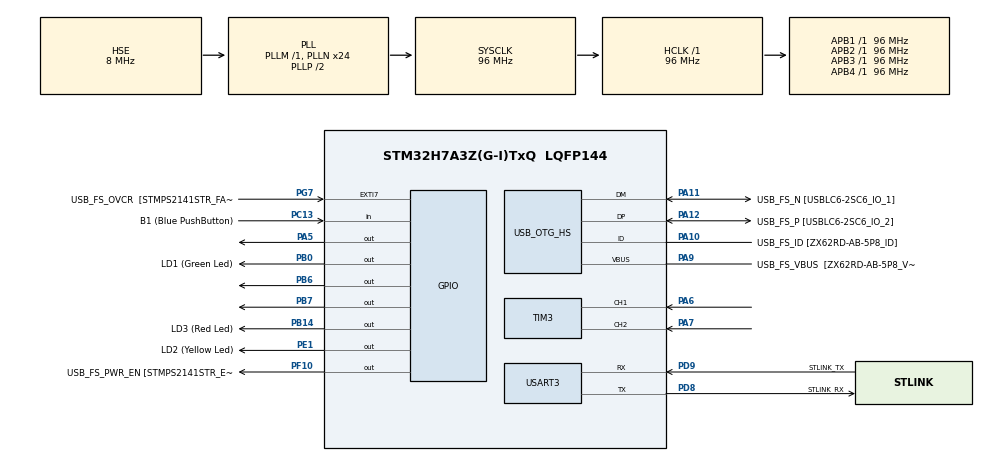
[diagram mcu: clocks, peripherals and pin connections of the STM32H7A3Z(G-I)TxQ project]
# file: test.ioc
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Mcu.Family=STM32H7
Mcu.Name=STM32H7A3Z(G-I)TxQ
Mcu.Package=LQFP144
NVIC.PriorityGroup=NVIC_PRIORITYGROUP_4
PA10.GPIO_Label=USB_FS_ID [ZX62RD-AB-5P8_ID]
PA10.Mode=OTG/Dual-Role-Device-FS
PA10.Signal=USB_OTG_HS_ID
PA11.GPIO_Label=USB_FS_N [USBLC6-2SC6_IO_1]
PA11.Mode=OTG/Dual-Role-Device-FS
PA11.Signal=USB_OTG_HS_DM
PA12.GPIO_Label=USB_FS_P [USBLC6-2SC6_IO_2]
PA12.Mode=OTG/Dual-Role-Device-FS
PA12.Signal=USB_OTG_HS_DP
PA5.Signal=GPIO_Output
PA6.Signal=S_TIM3_CH1
PA7.Signal=S_TIM3_CH2
PA9.GPIO_Label=USB_FS_VBUS  [ZX62RD-AB-5P8_VBUS]
PA9.Mode=Activate_VBUS_FS
PA9.Signal=USB_OTG_HS_VBUS
PB0.GPIO_Label=LD1 (Green Led)
PB0.Signal=GPIO_Output
PB14.GPIO_Label=LD3 (Red Led)
PB14.Signal=GPIO_Output
PB6.Signal=GPIO_Output
PB7.Signal=GPIO_Output
PC13.GPIO_Label=B1 (Blue PushButton)
PC13.Signal=GPIO_Input
PC14-OSC32_IN.GPIO_Label=OSC32_IN
PC14-OSC32_IN.Mode=LSE-External-Oscillator
PC14-OSC32_IN.Signal=RCC_OSC32_IN
PC15-OSC32_OUT.GPIO_Label=OSC32_OUT
PC15-OSC32_OUT.Mode=LSE-External-Oscillator
PC15-OSC32_OUT.Signal=RCC_OSC32_OUT
PD8.GPIO_Label=STLINK_RX
PD8.Mode=Asynchronous
PD8.Signal=USART3_TX
PD9.GPIO_Label=STLINK_TX
PD9.Mode=Asynchronous
PD9.Signal=USART3_RX
PE1.GPIO_Label=LD2 (Yellow Led)
PE1.Signal=GPIO_Output
PF10.GPIO_Label=USB_FS_PWR_EN [STMPS2141STR_EN]
PF10.Signal=GPIO_Output
PG7.GPIO_Label=USB_FS_OVCR  [STMPS2141STR_FAULT]
PG7.Signal=GPXTI7
PH0-OSC_IN.GPIO_Label=PH0-MCU
PH0-OSC_IN.Mode=HSE-External-Clock-Source
PH0-OSC_IN.Signal=RCC_OSC_IN
PH1-OSC_OUT.GPIO_Label=PH1-MCU
PH1-OSC_OUT.Signal=RCC_OSC_OUT
ProjectManager.HeapSize=0x200
ProjectManager.StackSize=0x400
ProjectManager.TargetToolchain=STM32CubeIDE
RCC.ADCFreq_Value=16125000
RCC.APB1Freq_Value=96000000
RCC.APB2Freq_Value=96000000
RCC.APB3Freq_Value=96000000
RCC.APB4Freq_Value=96000000
RCC.CortexFreq_Value=96000000
RCC.DIVM1=1
RCC.DIVM3=1
RCC.DIVN1=24
RCC.DIVN3=24
RCC.DIVQ1=4
RCC.HCLKFreq_Value=96000000
RCC.HSE_VALUE=8000000
RCC.PLLFRACN=0
RCC.PLLSourceVirtual=RCC_PLLSOURCE_HSE
RCC.PWR_Regulator_Voltage_Scale=PWR_REGULATOR_VOLTAGE_SCALE0
RCC.SYSCLKFreq_VALUE=96000000
RCC.SYSCLKSource=RCC_SYSCLKSOURCE_PLLCLK
RCC.SupplySource=PWR_DIRECT_SMPS_SUPPLY
RCC.USBCLockSelection=RCC_USBCLKSOURCE_HSI48
RCC.USBFreq_Value=48000000
SH.S_TIM3_CH1.0=TIM3_CH1,Encoder_Interface
SH.S_TIM3_CH2.0=TIM3_CH2,Encoder_Interface
TIM3.EncoderMode=TIM_ENCODERMODE_TI12
USART3.VirtualMode-Asynchronous=VM_ASYNC
board=NUCLEO-H7A3ZI-Q

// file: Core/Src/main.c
/* USER CODE BEGIN Header */
/**
 ******************************************************************************
 * @file           : main.c
 * @brief          : Main program body
 ******************************************************************************
 * @attention
 *
 * Copyright (c) 2024 STMicroelectronics.
 * All rights reserved.
 *
 * This software is licensed under terms that can be found in the LICENSE file
 * in the root directory of this software component.
 * If no LICENSE file comes with this software, it is provided AS-IS.
 *
 ******************************************************************************
 */
/* USER CODE END Header */
#include "main.h"

/* USER CODE BEGIN Includes */
#include "../Inc/motor_encoder.h"
#include "stdio.h"
/* USER CODE END Includes */

TIM_HandleTypeDef htim3;

UART_HandleTypeDef huart3;

/* USER CODE BEGIN PV */
encoder_instance enc_instance;

/* USER CODE END PV */

void SystemClock_Config(void);
static void MX_GPIO_Init(void);
static void MX_USART3_UART_Init(void);
static void MX_USB_OTG_HS_USB_Init(void);
static void MX_TIM3_Init(void);

/* USER CODE BEGIN 0 */
char uart_buf[50];
int uart_buf_len;
int16_t encoder_velocity;
int32_t encoder_position;
uint16_t timer_counter;

// void HAL_TIM_PeriodElapsedCallback(TIM_HandleTypeDef *htim) {
//   timer_counter = __HAL_TIM_GET_COUNTER(&htim3);
//   update_encoder(&enc_instance, &htim3);
//   encoder_position = enc_instance.position;
//   encoder_velocity = enc_instance.velocity;
// }

/* USER CODE END 0 */

int main(void) {

  /* MCU Configuration--------------------------------------------------------*/

  /* Reset of all peripherals, Initializes the Flash interface and the Systick.
   */
  HAL_Init();

  /* Configure the system clock */
  SystemClock_Config();

  /* Initialize all configured peripherals */
  MX_GPIO_Init();
  MX_USART3_UART_Init();
  MX_USB_OTG_HS_USB_Init();
  MX_TIM3_Init();
  /* USER CODE BEGIN 2 */
  // pump on
  // HAL_GPIO_WritePin(GPIOA, GPIO_PIN_5, GPIO_PIN_SET);
  // HAL_Delay(6000);
  // HAL_GPIO_WritePin(GPIOA, GPIO_PIN_5, GPIO_PIN_RESET);

  /* USER CODE END 2 */

  /* Infinite loop */
  /* USER CODE BEGIN WHILE */

  while (1) {
    // timer_counter = __HAL_TIM_GET_COUNTER(&htim3);
    // update_encoder(&enc_instance, &htim3);
    // encoder_position = enc_instance.position;
    // encoder_velocity = enc_instance.velocity;
    //
    // uart_buf_len =
    //     sprintf(uart_buf, "Counter value = %ld\r\n", encoder_position);
    // HAL_UART_Transmit(&huart3, (uint8_t *)uart_buf, uart_buf_len, 100);
    //
    // HAL_GPIO_WritePin(GPIOB, GPIO_PIN_6, GPIO_PIN_SET);

    // if (encoder_position >= 35) {
    //   HAL_GPIO_WritePin(GPIOB, GPIO_PIN_7, GPIO_PIN_SET);
    //   HAL_GPIO_WritePin(GPIOB, GPIO_PIN_6, GPIO_PIN_RESET);
    // }
    // if (encoder_position <= 30) {
    //   HAL_GPIO_WritePin(GPIOB, GPIO_PIN_7, GPIO_PIN_RESET);
    //   HAL_GPIO_WritePin(GPIOB, GPIO_PIN_6, GPIO_PIN_SET);

    // }

    /* USER CODE END WHILE */

  }
}

void SystemClock_Config(void) {
  RCC_OscInitTypeDef RCC_OscInitStruct = {0};
  RCC_ClkInitTypeDef RCC_ClkInitStruct = {0};

  /*AXI clock gating */
  RCC->CKGAENR = 0xFFFFFFFF;

  /** Supply configuration update enable
   */
  HAL_PWREx_ConfigSupply(PWR_DIRECT_SMPS_SUPPLY);

  /** Configure the main internal regulator output voltage
   */
  __HAL_PWR_VOLTAGESCALING_CONFIG(PWR_REGULATOR_VOLTAGE_SCALE0);

  while (!__HAL_PWR_GET_FLAG(PWR_FLAG_VOSRDY)) {
  }

  /** Initializes the RCC Oscillators according to the specified parameters
   * in the RCC_OscInitTypeDef structure.
   */
  RCC_OscInitStruct.OscillatorType =
      RCC_OSCILLATORTYPE_HSI48 | RCC_OSCILLATORTYPE_HSE;
  RCC_OscInitStruct.HSEState = RCC_HSE_BYPASS;
  RCC_OscInitStruct.HSI48State = RCC_HSI48_ON;
  RCC_OscInitStruct.PLL.PLLState = RCC_PLL_ON;
  RCC_OscInitStruct.PLL.PLLSource = RCC_PLLSOURCE_HSE;
  RCC_OscInitStruct.PLL.PLLM = 1;
  RCC_OscInitStruct.PLL.PLLN = 24;
  RCC_OscInitStruct.PLL.PLLP = 2;
  RCC_OscInitStruct.PLL.PLLQ = 4;
  RCC_OscInitStruct.PLL.PLLR = 2;
  RCC_OscInitStruct.PLL.PLLRGE = RCC_PLL1VCIRANGE_3;
  RCC_OscInitStruct.PLL.PLLVCOSEL = RCC_PLL1VCOWIDE;
  RCC_OscInitStruct.PLL.PLLFRACN = 0;
  if (HAL_RCC_OscConfig(&RCC_OscInitStruct) != HAL_OK) {
    Error_Handler();
  }

  /** Initializes the CPU, AHB and APB buses clocks
   */
  RCC_ClkInitStruct.ClockType = RCC_CLOCKTYPE_HCLK | RCC_CLOCKTYPE_SYSCLK |
                                RCC_CLOCKTYPE_PCLK1 | RCC_CLOCKTYPE_PCLK2 |
                                RCC_CLOCKTYPE_D3PCLK1 | RCC_CLOCKTYPE_D1PCLK1;
  RCC_ClkInitStruct.SYSCLKSource = RCC_SYSCLKSOURCE_PLLCLK;
  RCC_ClkInitStruct.SYSCLKDivider = RCC_SYSCLK_DIV1;
  RCC_ClkInitStruct.AHBCLKDivider = RCC_HCLK_DIV1;
  RCC_ClkInitStruct.APB3CLKDivider = RCC_APB3_DIV1;
  RCC_ClkInitStruct.APB1CLKDivider = RCC_APB1_DIV1;
  RCC_ClkInitStruct.APB2CLKDivider = RCC_APB2_DIV1;
  RCC_ClkInitStruct.APB4CLKDivider = RCC_APB4_DIV1;

  if (HAL_RCC_ClockConfig(&RCC_ClkInitStruct, FLASH_LATENCY_2) != HAL_OK) {
    Error_Handler();
  }
}

static void MX_TIM3_Init(void) {

  TIM_Encoder_InitTypeDef sConfig = {0};
  TIM_MasterConfigTypeDef sMasterConfig = {0};

  htim3.Instance = TIM3;
  htim3.Init.Prescaler = 0;
  htim3.Init.CounterMode = TIM_COUNTERMODE_UP;
  htim3.Init.Period = 65535;
  htim3.Init.ClockDivision = TIM_CLOCKDIVISION_DIV1;
  htim3.Init.AutoReloadPreload = TIM_AUTORELOAD_PRELOAD_DISABLE;
  sConfig.EncoderMode = TIM_ENCODERMODE_TI12;
  sConfig.IC1Polarity = TIM_ICPOLARITY_RISING;
  sConfig.IC1Selection = TIM_ICSELECTION_DIRECTTI;
  sConfig.IC1Prescaler = TIM_ICPSC_DIV1;
  sConfig.IC1Filter = 0;
  sConfig.IC2Polarity = TIM_ICPOLARITY_RISING;
  sConfig.IC2Selection = TIM_ICSELECTION_DIRECTTI;
  sConfig.IC2Prescaler = TIM_ICPSC_DIV1;
  sConfig.IC2Filter = 0;
  if (HAL_TIM_Encoder_Init(&htim3, &sConfig) != HAL_OK) {
    Error_Handler();
  }
  sMasterConfig.MasterOutputTrigger = TIM_TRGO_RESET;
  sMasterConfig.MasterSlaveMode = TIM_MASTERSLAVEMODE_DISABLE;
  if (HAL_TIMEx_MasterConfigSynchronization(&htim3, &sMasterConfig) != HAL_OK) {
    Error_Handler();
  }
  /* USER CODE BEGIN TIM3_Init 2 */
  HAL_TIM_Encoder_Start(&htim3, TIM_CHANNEL_ALL);
  /* USER CODE END TIM3_Init 2 */
}

static void MX_USART3_UART_Init(void) {

  huart3.Instance = USART3;
  huart3.Init.BaudRate = 115200;
  huart3.Init.WordLength = UART_WORDLENGTH_8B;
  huart3.Init.StopBits = UART_STOPBITS_1;
  huart3.Init.Parity = UART_PARITY_NONE;
  huart3.Init.Mode = UART_MODE_TX_RX;
  huart3.Init.HwFlowCtl = UART_HWCONTROL_NONE;
  huart3.Init.OverSampling = UART_OVERSAMPLING_16;
  huart3.Init.OneBitSampling = UART_ONE_BIT_SAMPLE_DISABLE;
  huart3.Init.ClockPrescaler = UART_PRESCALER_DIV1;
  huart3.AdvancedInit.AdvFeatureInit = UART_ADVFEATURE_NO_INIT;
  if (HAL_UART_Init(&huart3) != HAL_OK) {
    Error_Handler();
  }
  if (HAL_UARTEx_SetTxFifoThreshold(&huart3, UART_TXFIFO_THRESHOLD_1_8) !=
      HAL_OK) {
    Error_Handler();
  }
  if (HAL_UARTEx_SetRxFifoThreshold(&huart3, UART_RXFIFO_THRESHOLD_1_8) !=
      HAL_OK) {
    Error_Handler();
  }
  if (HAL_UARTEx_DisableFifoMode(&huart3) != HAL_OK) {
    Error_Handler();
  }
}

static void MX_USB_OTG_HS_USB_Init(void) {

}

static void MX_GPIO_Init(void) {
  GPIO_InitTypeDef GPIO_InitStruct = {0};

  /* GPIO Ports Clock Enable */
  __HAL_RCC_GPIOC_CLK_ENABLE();
  __HAL_RCC_GPIOF_CLK_ENABLE();
  __HAL_RCC_GPIOH_CLK_ENABLE();
  __HAL_RCC_GPIOA_CLK_ENABLE();
  __HAL_RCC_GPIOB_CLK_ENABLE();
  __HAL_RCC_GPIOD_CLK_ENABLE();
  __HAL_RCC_GPIOG_CLK_ENABLE();
  __HAL_RCC_GPIOE_CLK_ENABLE();

  /*Configure GPIO pin Output Level */
  HAL_GPIO_WritePin(USB_FS_PWR_EN_GPIO_Port, USB_FS_PWR_EN_Pin, GPIO_PIN_RESET);

  /*Configure GPIO pin Output Level */
  HAL_GPIO_WritePin(GPIOA, GPIO_PIN_5, GPIO_PIN_RESET);

  /*Configure GPIO pin Output Level */
  HAL_GPIO_WritePin(GPIOB, LD1_Pin | LD3_Pin | GPIO_PIN_6 | GPIO_PIN_7,
                    GPIO_PIN_RESET);

  /*Configure GPIO pin Output Level */
  HAL_GPIO_WritePin(LD2_GPIO_Port, LD2_Pin, GPIO_PIN_RESET);

  /*Configure GPIO pin : B1_Pin */
  GPIO_InitStruct.Pin = B1_Pin;
  GPIO_InitStruct.Mode = GPIO_MODE_INPUT;
  GPIO_InitStruct.Pull = GPIO_NOPULL;
  HAL_GPIO_Init(B1_GPIO_Port, &GPIO_InitStruct);

  /*Configure GPIO pin : USB_FS_PWR_EN_Pin */
  GPIO_InitStruct.Pin = USB_FS_PWR_EN_Pin;
  GPIO_InitStruct.Mode = GPIO_MODE_OUTPUT_PP;
  GPIO_InitStruct.Pull = GPIO_NOPULL;
  GPIO_InitStruct.Speed = GPIO_SPEED_FREQ_LOW;
  HAL_GPIO_Init(USB_FS_PWR_EN_GPIO_Port, &GPIO_InitStruct);

  /*Configure GPIO pin : PA5 */
  GPIO_InitStruct.Pin = GPIO_PIN_5;
  GPIO_InitStruct.Mode = GPIO_MODE_OUTPUT_PP;
  GPIO_InitStruct.Pull = GPIO_NOPULL;
  GPIO_InitStruct.Speed = GPIO_SPEED_FREQ_LOW;
  HAL_GPIO_Init(GPIOA, &GPIO_InitStruct);

  /*Configure GPIO pins : LD1_Pin LD3_Pin PB6 PB7 */
  GPIO_InitStruct.Pin = LD1_Pin | LD3_Pin | GPIO_PIN_6 | GPIO_PIN_7;
  GPIO_InitStruct.Mode = GPIO_MODE_OUTPUT_PP;
  GPIO_InitStruct.Pull = GPIO_NOPULL;
  GPIO_InitStruct.Speed = GPIO_SPEED_FREQ_LOW;
  HAL_GPIO_Init(GPIOB, &GPIO_InitStruct);

  /*Configure GPIO pin : USB_FS_OVCR_Pin */
  GPIO_InitStruct.Pin = USB_FS_OVCR_Pin;
  GPIO_InitStruct.Mode = GPIO_MODE_IT_RISING;
  GPIO_InitStruct.Pull = GPIO_NOPULL;
  HAL_GPIO_Init(USB_FS_OVCR_GPIO_Port, &GPIO_InitStruct);

  /*Configure GPIO pin : USB_FS_VBUS_Pin */
  GPIO_InitStruct.Pin = USB_FS_VBUS_Pin;
  GPIO_InitStruct.Mode = GPIO_MODE_INPUT;
  GPIO_InitStruct.Pull = GPIO_NOPULL;
  HAL_GPIO_Init(USB_FS_VBUS_GPIO_Port, &GPIO_InitStruct);

  /*Configure GPIO pin : USB_FS_ID_Pin */
  GPIO_InitStruct.Pin = USB_FS_ID_Pin;
  GPIO_InitStruct.Mode = GPIO_MODE_AF_PP;
  GPIO_InitStruct.Pull = GPIO_NOPULL;
  GPIO_InitStruct.Speed = GPIO_SPEED_FREQ_LOW;
  GPIO_InitStruct.Alternate = GPIO_AF10_OTG1_HS;
  HAL_GPIO_Init(USB_FS_ID_GPIO_Port, &GPIO_InitStruct);

  /*Configure GPIO pins : USB_FS_N_Pin USB_FS_P_Pin */
  GPIO_InitStruct.Pin = USB_FS_N_Pin | USB_FS_P_Pin;
  GPIO_InitStruct.Mode = GPIO_MODE_AF_PP;
  GPIO_InitStruct.Pull = GPIO_NOPULL;
  GPIO_InitStruct.Speed = GPIO_SPEED_FREQ_LOW;
  HAL_GPIO_Init(GPIOA, &GPIO_InitStruct);

  /*Configure GPIO pin : LD2_Pin */
  GPIO_InitStruct.Pin = LD2_Pin;
  GPIO_InitStruct.Mode = GPIO_MODE_OUTPUT_PP;
  GPIO_InitStruct.Pull = GPIO_NOPULL;
  GPIO_InitStruct.Speed = GPIO_SPEED_FREQ_LOW;
  HAL_GPIO_Init(LD2_GPIO_Port, &GPIO_InitStruct);

}

/* USER CODE BEGIN 4 */
int _write(int file, char *ptr, int len) {
  (void)file;
  int DataIdx;

  for (DataIdx = 0; DataIdx < len; DataIdx++) {
    ITM_SendChar(*ptr++);
  }
  return len;
}

/* USER CODE END 4 */

void Error_Handler(void) {
  __disable_irq();
  while (1) {
  }
}

#ifdef USE_FULL_ASSERT
/**
 * @brief  Reports the name of the source file and the source line number
 *         where the assert_param error has occurred.
 * @param  file: pointer to the source file name
 * @param  line: assert_param error line source number
 * @retval None
 */
void assert_failed(uint8_t *file, uint32_t line) {
  /* USER CODE BEGIN 6 */
  /* User can add his own implementation to report the file name and line
     number, ex: printf("Wrong parameters value: file %s on line %d\r\n", file,
     line) */
  /* USER CODE END 6 */
}
#endif /* USE_FULL_ASSERT */
